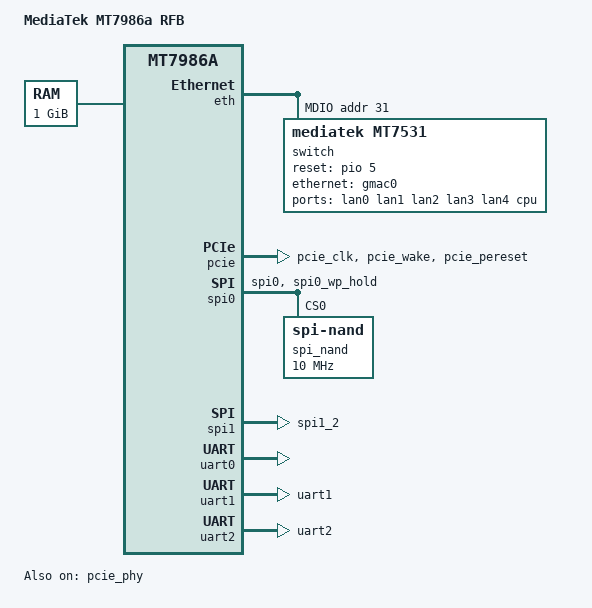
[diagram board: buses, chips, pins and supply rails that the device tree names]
// SPDX-License-Identifier: (GPL-2.0 OR MIT)
/*
 * Copyright (C) 2021 MediaTek Inc.
 * Author: Sam.Shih <sam.shih@mediatek.com>
 */

/dts-v1/;
#include "mt7986a.dtsi"

/ {
	model = "MediaTek MT7986a RFB";
	compatible = "mediatek,mt7986a-rfb";

	aliases {
		serial0 = &uart0;
	};

	chosen {
		stdout-path = "serial0:115200n8";
	};

	memory@40000000 {
		device_type = "memory";
		reg = <0 0x40000000 0 0x40000000>;
	};
};

&eth {
	status = "okay";

	gmac0: mac@0 {
		compatible = "mediatek,eth-mac";
		reg = <0>;
		phy-mode = "2500base-x";

		fixed-link {
			speed = <2500>;
			full-duplex;
			pause;
		};
	};

	mdio: mdio-bus {
		#address-cells = <1>;
		#size-cells = <0>;
	};
};

&mdio {
	switch: switch@0 {
		compatible = "mediatek,mt7531";
		reg = <31>;
		reset-gpios = <&pio 5 0>;
	};
};

&switch {
	ports {
		#address-cells = <1>;
		#size-cells = <0>;

		port@0 {
			reg = <0>;
			label = "lan0";
		};

		port@1 {
			reg = <1>;
			label = "lan1";
		};

		port@2 {
			reg = <2>;
			label = "lan2";
		};

		port@3 {
			reg = <3>;
			label = "lan3";
		};

		port@4 {
			reg = <4>;
			label = "lan4";
		};

		port@6 {
			reg = <6>;
			label = "cpu";
			ethernet = <&gmac0>;
			phy-mode = "2500base-x";

			fixed-link {
				speed = <2500>;
				full-duplex;
				pause;
			};
		};
	};
};

&pcie {
	pinctrl-names = "default";
	pinctrl-0 = <&pcie_pins>;
	status = "okay";
};

&pcie_phy {
	status = "okay";
};

&pio {
	pcie_pins: pcie-pins {
		mux {
			function = "pcie";
			groups = "pcie_clk", "pcie_wake", "pcie_pereset";
		};
	};

	spi_flash_pins: spi-flash-pins {
		mux {
			function = "spi";
			groups = "spi0", "spi0_wp_hold";
		};
	};

	spic_pins: spic-pins {
		mux {
			function = "spi";
			groups = "spi1_2";
		};
	};

	uart1_pins: uart1-pins {
		mux {
			function = "uart";
			groups = "uart1";
		};
	};

	uart2_pins: uart2-pins {
		mux {
			function = "uart";
			groups = "uart2";
		};
	};
};

&spi0 {
	pinctrl-names = "default";
	pinctrl-0 = <&spi_flash_pins>;
	cs-gpios = <0>, <0>;
	status = "okay";
	spi_nand: spi_nand@0 {
		compatible = "spi-nand";
		reg = <0>;
		spi-max-frequency = <10000000>;
		spi-tx-buswidth = <4>;
		spi-rx-buswidth = <4>;
	};
};

&spi1 {
	pinctrl-names = "default";
	pinctrl-0 = <&spic_pins>;
	cs-gpios = <0>, <0>;
	status = "okay";
};

&uart0 {
	status = "okay";
};

&uart1 {
	pinctrl-names = "default";
	pinctrl-0 = <&uart1_pins>;
	status = "okay";
};

&uart2 {
	pinctrl-names = "default";
	pinctrl-0 = <&uart2_pins>;
	status = "okay";
};
